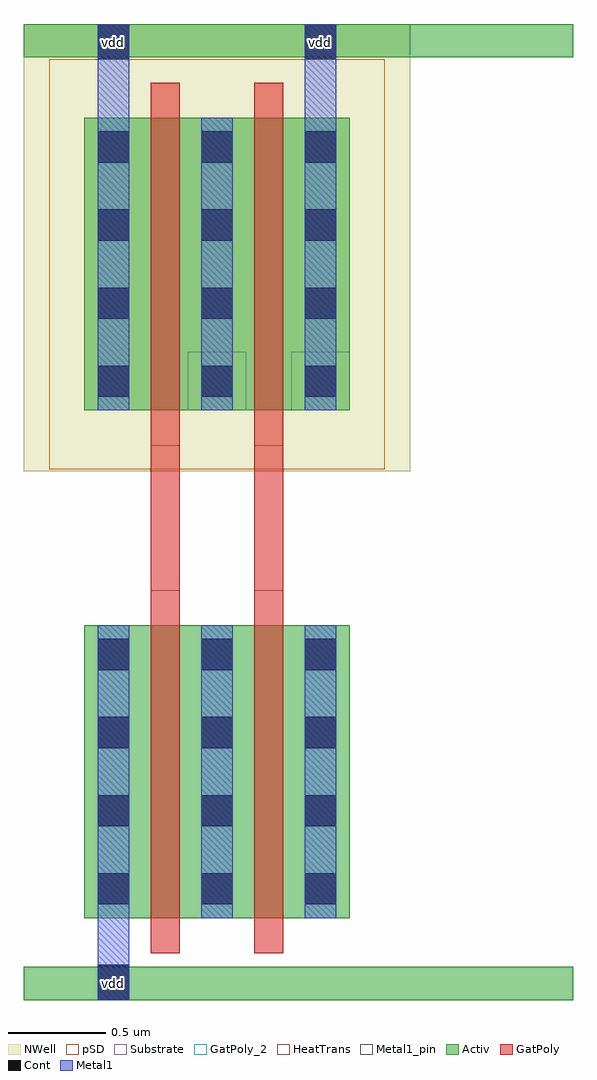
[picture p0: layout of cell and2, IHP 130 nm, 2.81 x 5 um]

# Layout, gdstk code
import gdstk
lib = gdstk.Library(unit=1e-6, precision=5e-09)
def R(c, l, rs):  # rectangles x0, y0, x1, y1
    for r in rs: c.add(gdstk.rectangle(r[:2], r[2:], *l))
def A(c, l, x, y, w, h, nx, ny, dx, dy):  # array of equal rectangles
    R(c, l, [(x+i*dx, y+j*dy, x+i*dx+w, y+j*dy+h) for i in range(nx) for j in range(ny)])
Activ = (1, 0)
GatPoly = (5, 0)
GatPoly_2 = (5, 2)
Cont = (6, 0)
Metal1 = (8, 0)
Metal1_pin = (8, 2)
pSD = (14, 0)
NWell = (31, 0)
Substrate = (40, 0)
HeatTrans = (51, 0)

pmos_1 = lib.new_cell('pmos$1')
R(pmos_1, Activ, [(0,0,0.3,0.3), (0,0,0.83,1.5), (0.53,0,0.83,0.3)])
R(pmos_1, GatPoly, [(0.34,-0.18,0.49,1.68), (0.34,-0.18,0.49,1.68)])
A(pmos_1, Cont, 0.07, 0.07, 0.16, 0.16, 1, 4, 0, 0.4)
A(pmos_1, Cont, 0.6, 0.07, 0.16, 0.16, 1, 4, 0, 0.4)
R(pmos_1, Metal1, [(0.07,0,0.23,1.5), (0.07,0,0.23,1.5), (0.6,0,0.76,1.5), (0.6,0,0.76,1.5)])
R(pmos_1, pSD, [(-0.18,-0.3,1.01,1.8)])
R(pmos_1, NWell, [(-0.31,-0.31,1.14,1.81)])
R(pmos_1, Substrate, [(0.53,0,0.83,0.3)])
R(pmos_1, HeatTrans, [(0.34,-0.18,0.49,1.68)])
pmos_1.add(gdstk.Label('pmos', (0.415,0.75), layer=63, texttype=0))
pmos_1.add(gdstk.Label('pmos', (0.415,0.75), layer=51, texttype=0))

nmos_1 = lib.new_cell('nmos$1')
R(nmos_1, Activ, [(0,0,0.3,0.3), (0,0,0.83,1.5), (0.53,0,0.83,0.3)])
R(nmos_1, GatPoly, [(0.34,-0.18,0.49,1.68)])
R(nmos_1, GatPoly_2, [(0.34,-0.18,0.49,1.68)])
A(nmos_1, Cont, 0.07, 0.07, 0.16, 0.16, 1, 4, 0, 0.4)
A(nmos_1, Cont, 0.6, 0.07, 0.16, 0.16, 1, 4, 0, 0.4)
R(nmos_1, Metal1, [(0.07,0,0.23,1.5), (0.6,0,0.76,1.5)])
R(nmos_1, Metal1_pin, [(0.07,0,0.23,1.5), (0.6,0,0.76,1.5)])
R(nmos_1, HeatTrans, [(0.34,-0.18,0.49,1.68)])
nmos_1.add(gdstk.Label('nmos', (0.415,0.75), layer=63, texttype=0))
nmos_1.add(gdstk.Label('nmos', (0.415,0.75), layer=51, texttype=0))

and2 = lib.new_cell('and2')
R(and2, Activ, [(-1.04,-2.415,1.775,-2.245), (-1.04,2.415,1.775,2.585)])
R(and2, GatPoly, [(-0.39,-0.315,-0.24,0.425), (0.14,-0.315,0.29,0.425)])
R(and2, Cont, [(-0.66,-2.415,-0.5,-2.235), (-0.66,2.405,-0.5,2.585), (0.4,2.405,0.56,2.585)])
R(and2, Metal1, [(-0.66,-2.415,-0.5,-1.995), (-0.66,2.105,-0.5,2.585), (0.4,2.105,0.56,2.585)])
R(and2, Metal1_pin, [(-0.66,-2.41,-0.5,-2.24), (-0.66,2.405,-0.5,2.585), (0.4,2.405,0.56,2.585)])
R(and2, pSD, [(-1.04,-2.415,1.775,-2.245)])
R(and2, NWell, [(-1.04,2.415,0.94,2.585)])
and2.add(gdstk.Reference(pmos_1, (-0.73,0.605)))
and2.add(gdstk.Reference(nmos_1, (-0.73,-1.995)))
and2.add(gdstk.Reference(pmos_1, (-0.2,0.605)))
and2.add(gdstk.Reference(nmos_1, (-0.2,-1.995)))
and2.add(gdstk.Label('vdd', (-0.58,2.49), layer=8, texttype=2))
and2.add(gdstk.Label('vdd', (0.48,2.49), layer=8, texttype=2))
and2.add(gdstk.Label('vdd', (-0.58,-2.33), layer=8, texttype=2))

lib.write_gds('and2.gds')
